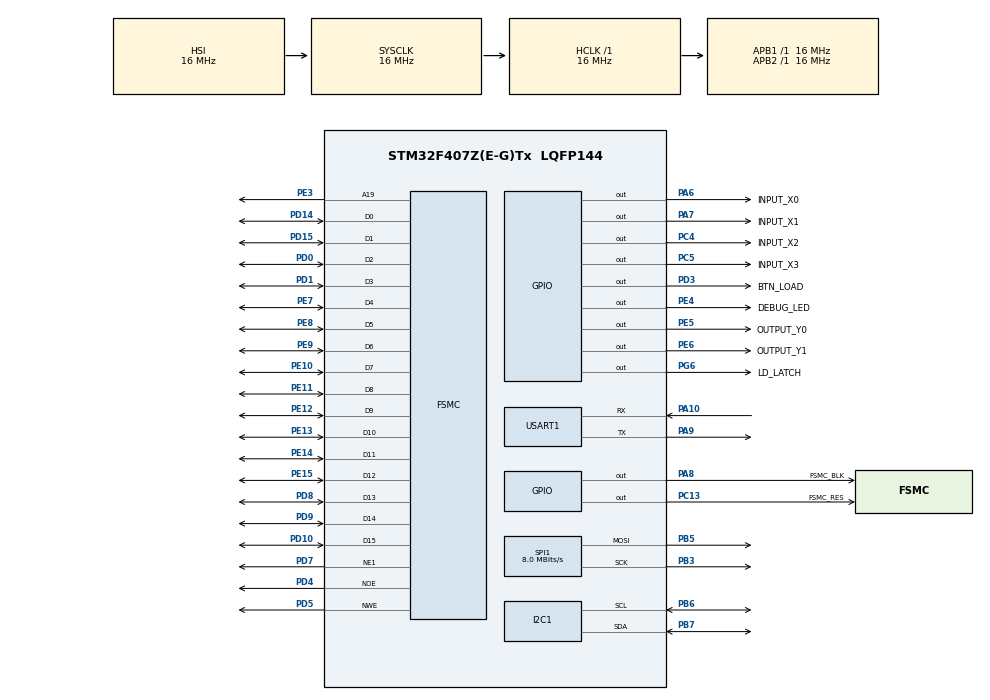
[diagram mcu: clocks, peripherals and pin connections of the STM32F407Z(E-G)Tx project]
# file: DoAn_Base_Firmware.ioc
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Mcu.Family=STM32F4
Mcu.Name=STM32F407Z(E-G)Tx
Mcu.Package=LQFP144
NVIC.PriorityGroup=NVIC_PRIORITYGROUP_4
PA10.Mode=Asynchronous
PA10.Signal=USART1_RX
PA13.Mode=Serial_Wire
PA13.Signal=SYS_JTMS-SWDIO
PA14.Mode=Serial_Wire
PA14.Signal=SYS_JTCK-SWCLK
PA6.GPIO_Label=INPUT_X0
PA6.Signal=GPIO_Output
PA7.GPIO_Label=INPUT_X1
PA7.Signal=GPIO_Output
PA8.GPIO_Label=FSMC_BLK
PA8.Signal=GPIO_Output
PA9.Mode=Asynchronous
PA9.Signal=USART1_TX
PB3.Mode=TX_Only_Simplex_Unidirect_Master
PB3.Signal=SPI1_SCK
PB4.Signal=SPI1_MISO
PB5.Mode=TX_Only_Simplex_Unidirect_Master
PB5.Signal=SPI1_MOSI
PB6.Mode=I2C
PB6.Signal=I2C1_SCL
PB7.Mode=I2C
PB7.Signal=I2C1_SDA
PC13-ANTI_TAMP.GPIO_Label=FSMC_RES
PC13-ANTI_TAMP.Signal=GPIO_Output
PC4.GPIO_Label=INPUT_X2
PC4.Signal=GPIO_Output
PC5.GPIO_Label=INPUT_X3
PC5.Signal=GPIO_Output
PD0.Signal=FSMC_D2_DA2
PD1.Signal=FSMC_D3_DA3
PD10.Signal=FSMC_D15_DA15
PD14.Signal=FSMC_D0_DA0
PD15.Signal=FSMC_D1_DA1
PD3.GPIO_Label=BTN_LOAD
PD3.Signal=GPIO_Output
PD4.Signal=FSMC_NOE
PD5.Signal=FSMC_NWE
PD7.Mode=NorPsramChipSelect1_1
PD7.Signal=FSMC_NE1
PD8.Signal=FSMC_D13_DA13
PD9.Signal=FSMC_D14_DA14
PE10.Signal=FSMC_D7_DA7
PE11.Signal=FSMC_D8_DA8
PE12.Signal=FSMC_D9_DA9
PE13.Signal=FSMC_D10_DA10
PE14.Signal=FSMC_D11_DA11
PE15.Signal=FSMC_D12_DA12
PE3.Signal=FSMC_A19
PE4.GPIO_Label=DEBUG_LED
PE4.Signal=GPIO_Output
PE5.GPIO_Label=OUTPUT_Y0
PE5.Signal=GPIO_Output
PE6.GPIO_Label=OUTPUT_Y1
PE6.Signal=GPIO_Output
PE7.Signal=FSMC_D4_DA4
PE8.Signal=FSMC_D5_DA5
PE9.Signal=FSMC_D6_DA6
PG6.GPIO_Label=LD_LATCH
PG6.Signal=GPIO_Output
ProjectManager.HeapSize=0x200
ProjectManager.StackSize=0x400
ProjectManager.TargetToolchain=STM32CubeIDE
RCC.AHBFreq_Value=16000000
RCC.APB1Freq_Value=16000000
RCC.APB2Freq_Value=16000000
RCC.CortexFreq_Value=16000000
RCC.HSE_VALUE=25000000
RCC.HSI_VALUE=16000000
RCC.LSE_VALUE=32768
RCC.SYSCLKFreq_VALUE=16000000
RCC.VCOOutputFreq_Value=192000000
SH.FSMC_A19.0=FSMC_A19,A19_1
SH.FSMC_D0_DA0.0=FSMC_D0,16b-d1
SH.FSMC_D10_DA10.0=FSMC_D10,16b-d1
SH.FSMC_D11_DA11.0=FSMC_D11,16b-d1
SH.FSMC_D12_DA12.0=FSMC_D12,16b-d1
SH.FSMC_D13_DA13.0=FSMC_D13,16b-d1
SH.FSMC_D14_DA14.0=FSMC_D14,16b-d1
SH.FSMC_D15_DA15.0=FSMC_D15,16b-d1
SH.FSMC_D1_DA1.0=FSMC_D1,16b-d1
SH.FSMC_D2_DA2.0=FSMC_D2,16b-d1
SH.FSMC_D3_DA3.0=FSMC_D3,16b-d1
SH.FSMC_D4_DA4.0=FSMC_D4,16b-d1
SH.FSMC_D5_DA5.0=FSMC_D5,16b-d1
SH.FSMC_D6_DA6.0=FSMC_D6,16b-d1
SH.FSMC_D7_DA7.0=FSMC_D7,16b-d1
SH.FSMC_D8_DA8.0=FSMC_D8,16b-d1
SH.FSMC_D9_DA9.0=FSMC_D9,16b-d1
SH.FSMC_NOE.0=FSMC_NOE,Lcd1
SH.FSMC_NWE.0=FSMC_NWE,Lcd1
SPI1.CalculateBaudRate=8.0 MBits/s
SPI1.Direction=SPI_DIRECTION_2LINES
SPI1.Mode=SPI_MODE_MASTER
SPI1.VirtualType=VM_MASTER
USART1.VirtualMode=VM_ASYNC
VP_TIM2_VS_ClockSourceINT.Mode=Internal
board=custom

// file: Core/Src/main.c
/* USER CODE BEGIN Header */
/**
  ******************************************************************************
  * @file           : main.c
  * @brief          : Main program body
  ******************************************************************************
  */
/* USER CODE END Header */
#include "main.h"
#include "fsmc.h"
#include "i2c.h"
#include "spi.h"
#include "tim.h"
#include "usart.h"
#include "gpio.h"

/* USER CODE BEGIN Includes */
#include "software_timer.h"
#include "led_7seg.h"
#include "button.h"
#include "lcd.h"
#include "picture.h"
#include "ds3231.h"
#include "uart.h"
#include <stdio.h>
/* USER CODE END Includes */

void SystemClock_Config(void);
/* USER CODE BEGIN PFP */
void system_init(void);
void test_LedDebug(void);
void test_LedY0(void);
void test_LedY1(void);
void test_SuperProject(void);
/* USER CODE END PFP */

int main(void)
{

  /* MCU Configuration--------------------------------------------------------*/

  /* Reset of all peripherals, Initializes the Flash interface and the Systick. */
  HAL_Init();

  /* Configure the system clock */
  SystemClock_Config();

  /* Initialize all configured peripherals */
  MX_GPIO_Init();
  MX_I2C1_Init();
  MX_SPI1_Init();
  MX_TIM2_Init();
  MX_USART1_UART_Init();
  MX_FSMC_Init();

  /* USER CODE BEGIN 2 */
  system_init();
  /* USER CODE END 2 */

  /* Infinite loop */
  /* USER CODE BEGIN WHILE */
  while (1)
  {
      while(!flag_timer2);
      flag_timer2 = 0; // Chạy mỗi 50ms

      // 1. Quét phần cứng liên tục
      button_Scan();
      ds3231_ReadTime();

      // 2. Chạy các task giao diện và điều khiển
      test_LedDebug();
      test_LedY0();
      test_LedY1();
      test_SuperProject();
    /* USER CODE END WHILE */

  }
}

void SystemClock_Config(void)
{
  RCC_OscInitTypeDef RCC_OscInitStruct = {0};
  RCC_ClkInitTypeDef RCC_ClkInitStruct = {0};

  /** Configure the main internal regulator output voltage
  */
  __HAL_RCC_PWR_CLK_ENABLE();
  __HAL_PWR_VOLTAGESCALING_CONFIG(PWR_REGULATOR_VOLTAGE_SCALE1);

  /** Initializes the RCC Oscillators according to the specified parameters
  * in the RCC_OscInitTypeDef structure.
  */
  RCC_OscInitStruct.OscillatorType = RCC_OSCILLATORTYPE_HSI;
  RCC_OscInitStruct.HSIState = RCC_HSI_ON;
  RCC_OscInitStruct.HSICalibrationValue = RCC_HSICALIBRATION_DEFAULT;
  RCC_OscInitStruct.PLL.PLLState = RCC_PLL_NONE;
  if (HAL_RCC_OscConfig(&RCC_OscInitStruct) != HAL_OK)
  {
    Error_Handler();
  }

  /** Initializes the CPU, AHB and APB buses clocks
  */
  RCC_ClkInitStruct.ClockType = RCC_CLOCKTYPE_HCLK|RCC_CLOCKTYPE_SYSCLK
                              |RCC_CLOCKTYPE_PCLK1|RCC_CLOCKTYPE_PCLK2;
  RCC_ClkInitStruct.SYSCLKSource = RCC_SYSCLKSOURCE_HSI;
  RCC_ClkInitStruct.AHBCLKDivider = RCC_SYSCLK_DIV1;
  RCC_ClkInitStruct.APB1CLKDivider = RCC_HCLK_DIV1;
  RCC_ClkInitStruct.APB2CLKDivider = RCC_HCLK_DIV1;

  if (HAL_RCC_ClockConfig(&RCC_ClkInitStruct, FLASH_LATENCY_0) != HAL_OK)
  {
    Error_Handler();
  }
}

/* USER CODE BEGIN 4 */
void system_init(){
	GPIO_InitTypeDef GPIO_InitStruct = {0};
	GPIO_InitStruct.Pin = DEBUG_LED_Pin | OUTPUT_Y0_Pin | OUTPUT_Y1_Pin;
	GPIO_InitStruct.Mode = GPIO_MODE_OUTPUT_PP;
	GPIO_InitStruct.Pull = GPIO_NOPULL;
	GPIO_InitStruct.Speed = GPIO_SPEED_FREQ_LOW;
	HAL_GPIO_Init(GPIOE, &GPIO_InitStruct);

	// Tắt các LED khi khởi động
	HAL_GPIO_WritePin(GPIOE, OUTPUT_Y0_Pin|OUTPUT_Y1_Pin|DEBUG_LED_Pin, GPIO_PIN_RESET);

	// 2. Khởi tạo các module
	timer_init();
	led7_init();
	button_init();

	// 3. MỞ KHÓA MÀN HÌNH LCD
	lcd_init();

	// 4. LẤY GIỜ TỰ ĐỘNG TỪ MÁY TÍNH (Chèn vào đây!)
	int h, m, s;
	sscanf(__TIME__, "%d:%d:%d", &h, &m, &s);

	// Ghi giờ, phút, giây xuống chip RTC theo địa chỉ thanh ghi
	ds3231_Write(ADDRESS_HOUR, h);
	ds3231_Write(ADDRESS_MIN,  m);
	ds3231_Write(ADDRESS_SEC,  s);

	// 5. Các khởi tạo cuối cùng
	uart_init_rs232();
	lcd_Clear(WHITE);
	setTimer2(50);
}

// Các biến đếm cho LED đơn
uint16_t count_led_debug = 0;
uint16_t count_led_Y0 = 0;
uint16_t count_led_Y1 = 0;

void test_LedDebug(){
    count_led_debug = (count_led_debug + 1) % 20;
    if(count_led_debug == 0){
        HAL_GPIO_TogglePin(DEBUG_LED_GPIO_Port, DEBUG_LED_Pin);
    }
}

void test_LedY0(){
    count_led_Y0 = (count_led_Y0 + 1) % 100;
    if(count_led_Y0 > 40){
        HAL_GPIO_WritePin(OUTPUT_Y0_GPIO_Port, OUTPUT_Y0_Pin, GPIO_PIN_SET);
    } else {
        HAL_GPIO_WritePin(OUTPUT_Y0_GPIO_Port, OUTPUT_Y0_Pin, GPIO_PIN_RESET);
    }
}

void test_LedY1(){
    count_led_Y1 = (count_led_Y1 + 1) % 40;
    if(count_led_Y1 > 10){
        HAL_GPIO_WritePin(OUTPUT_Y1_GPIO_Port, OUTPUT_Y1_Pin, GPIO_PIN_RESET);
    } else {
        HAL_GPIO_WritePin(OUTPUT_Y1_GPIO_Port, OUTPUT_Y1_Pin, GPIO_PIN_SET);
    }
}

void test_SuperProject(){
    // 1. Hiển thị giờ và phút thực tế lên màn hình LED 7 đoạn
    led7_SetDigit(ds3231_hours / 10, 0, 0);
    led7_SetDigit(ds3231_hours % 10, 1, 0);
    led7_SetDigit(ds3231_min / 10, 2, 0);
    led7_SetDigit(ds3231_min % 10, 3, 0);

    // Chớp dấu 2 chấm (Colon) của LED 7 đoạn theo giây
    if(ds3231_sec % 2 == 0) led7_SetColon(1);
    else led7_SetColon(0);

    // 2. Xử lý logic Nút nhấn, màn LCD và giao tiếp UART
    for(int i = 0; i < 16; i++){
        if(button_count[i] == 1){
            // In số thứ tự phím vừa bấm lên màn hình LCD
            lcd_ShowIntNum(140, 105, i, 2, BRED, WHITE, 32);

            // Bấm phím 12 -> bắn dữ liệu thời gian lên Terminal máy tính
            if(i == 12){
                char buffer[50];
                sprintf(buffer, "Time: %02d:%02d:%02d\r\n", ds3231_hours, ds3231_min, ds3231_sec);
                uart_Rs232SendString((uint8_t*)buffer);
            }
        }
    }
}
/* USER CODE END 4 */

void Error_Handler(void)
{
  __disable_irq();
  while (1)
  {
  }
}
